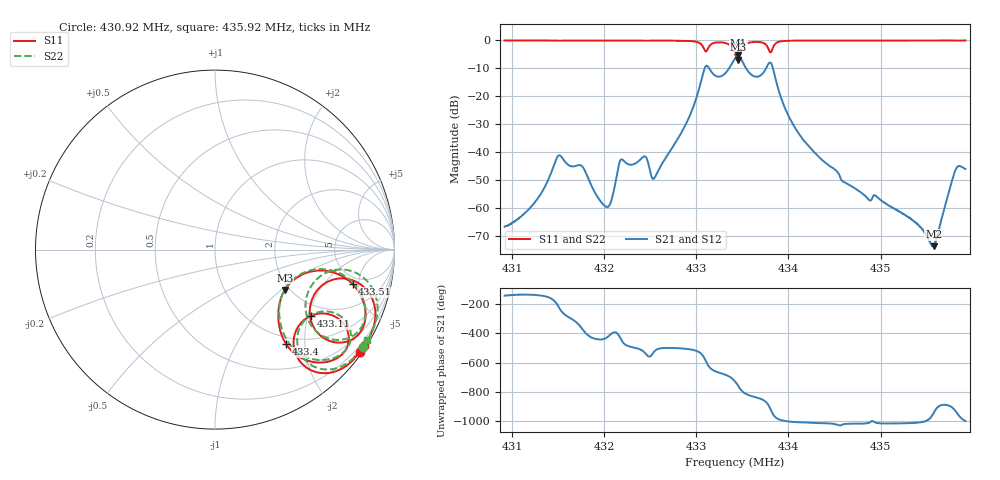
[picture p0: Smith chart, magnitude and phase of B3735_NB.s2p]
! Matrix data file written by TouchstoneData, EPCOS AG
! FILENAME: "B3735_NB.s2p"
! COMMENT: "PORTEX1 93PS;PORTEX2 179.5PS;  4 May 2007 S1"
! INFO: nport=2, nfreq=1601
! DATE: "Tue May 22 14:59:26 2007"
! USER: "Wilfried Schott"
! port | pin | signal
!  1  |  1  |  input
!  2  |  4  |  output
# MHZ S MA R 50
! freq  magS11 angS11  magS21 angS21  magS12 angS12  magS22 angS22
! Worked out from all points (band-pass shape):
!   1601 points, 430.92 MHz to 435.92 MHz, reference 50 ohm
!   highest |S21| = -5.45 dB at 433.45 MHz (marker M1); lowest = -73.7 dB at 435.58 MHz (marker M2)
!   |S21| within 3 dB of the highest: 433.3845 MHz to 433.5131 MHz (128.6 kHz wide, 0.0297 % of centre); 433.7825 MHz to 433.8156 MHz (33.02 kHz wide, 0.00761 % of centre)
!   lowest |S11| = -6.9 dB at 433.45 MHz (marker M3), VSWR 2.63, Z = 94 - j53.1 ohm
!   |S11| at or under -10 dB: nowhere
!   |S22| runs from -7.0 to -0.1 dB; largest |S21 - S12| = 0.002
!   S11 on the Smith chart (normalised r, x): 430.92 MHz: 0.06, -3.17; 433.11 MHz: 1.64, -2.09; 433.4 MHz: 0.88, -1.64; 433.51 MHz: 4.12, -4.19; 435.92 MHz: 0.07, -3.44
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430.92  0.9899 -35.0  0.0004614 -143.3  0.0004689 -143.1  0.9871 -33.5
431.2575  0.9896 -35.4  0.001326 -138.1  0.001322 -138.1  0.9868 -33.9
431.5044  0.9803 -35.7  0.008651 142.6  0.008635 142.8  0.9784 -34.1
431.7544  0.9836 -35.8  0.005675 -4.0  0.005677 -3.7  0.9796 -34.3
432.0294  0.9872 -36.3  0.001042 -68.8  0.001037 -68.6  0.9843 -34.7
432.1888  0.9832 -36.5  0.007427 -88.3  0.007418 -88.0  0.9794 -34.9
432.5888  0.9854 -38.1  0.004686 -145.7  0.004657 -145.7  0.9825 -36.6
433.0263  0.9095 -49.2  0.128 -167.4  0.1277 -167.2  0.9078 -47.4
433.1138  0.6489 -34.6  0.3503 117.0  0.3496 117.2  0.6551 -33.2
433.4044  0.6586 -53.0  0.43 1.8  0.4289 2.0  0.6691 -51.7
433.42  0.5734 -50.9  0.4687 -8.9  0.4678 -8.7  0.5847 -50.1
433.4513  0.4494 -30.1  0.5323 -35.4  0.5317 -35.2  0.4477 -30.1
433.4544  0.4526 -26.6  0.5339 -38.6  0.5333 -38.4  0.45 -26.4
433.5138  0.7898 -14.0  0.376 -84.5  0.3753 -84.3  0.7848 -13.2
433.7356  0.8809 -35.9  0.274 -139.4  0.2735 -139.1  0.8655 -35.5
433.8106  0.6119 -22.0  0.3894 154.3  0.3888 154.5  0.5795 -18.5
433.9981  0.9773 -24.5  0.04531 77.4  0.04508 77.6  0.9765 -22.6
434.2544  0.9883 -28.5  0.01107 67.8  0.01101 68.1  0.9862 -26.8
435.0888  0.9907 -31.5  0.001109 63.6  0.001101 63.8  0.9882 -29.9
435.5763  0.9906 -32.2  0.0002073 134.2  0.0002079 135.7  0.9879 -30.6
435.8075  0.9862 -32.5  0.004553 152.6  0.004549 152.9  0.9834 -31.0
435.92  0.9885 -32.4  0.004983 80.2  0.004979 80.4  0.9857 -30.8
